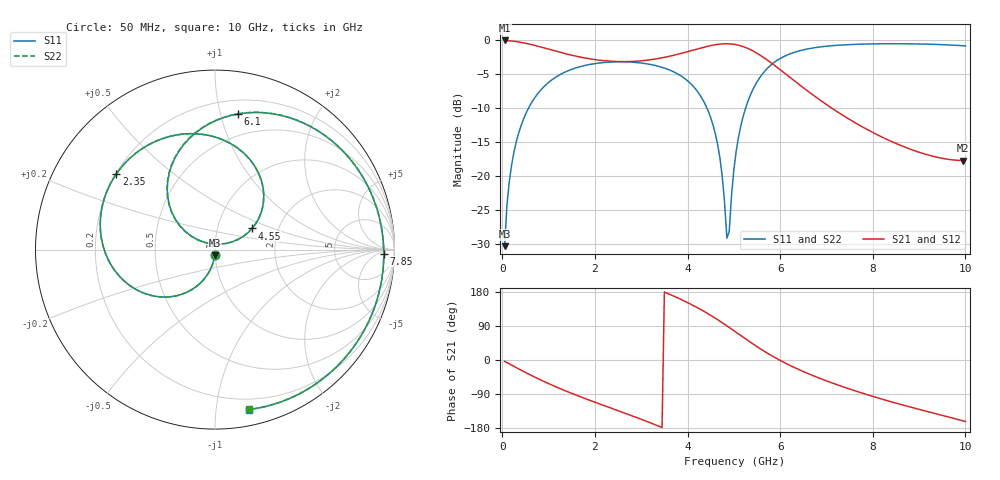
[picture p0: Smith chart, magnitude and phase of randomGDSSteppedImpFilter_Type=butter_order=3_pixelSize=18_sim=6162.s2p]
! freq	dB(S11)	phase(S11)	dB(S12)	phase(S12)
!  dB(S21)	phase(S21)	dB(S22)	phase(S22)
!S-par simulation data
#  GHz  S  DB  R 50
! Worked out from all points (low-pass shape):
!   200 points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, 50 MHz to 10 GHz, reference 50 ohm
!   highest |S21| = -0.01 dB at 50 MHz (marker M1); lowest = -17.7 dB at 9.95 GHz (marker M2)
!   |S21| within 3 dB of the highest: start of sweep to 2.227 GHz; 2.998 GHz to 5.746 GHz (2.749 GHz wide, 62.9 % of centre)
!   lowest |S11| = -30.3 dB at 50 MHz (marker M3), VSWR 1.06, Z = 49.7 - j3.03 ohm
!   |S11| at or under -10 dB: start of sweep to 565.2 MHz; 4.421 GHz to 5.252 GHz (831.7 MHz wide, 17.2 % of centre)
!   |S22| runs from -30.3 to -0.5 dB; largest |S21 - S12| = 0
!   S11 on the Smith chart (normalised r, x): 50 MHz: 0.99, -0.06; 2.35 GHz: 0.20, +0.33; 4.55 GHz: 1.47, +0.37; 6.1 GHz: 0.31, +1.14; 7.85 GHz: 28, -11; 10 GHz: 0.12, -1.22
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0.05  -30.31 -93.5  -0.01 -3.4  -0.01 -3.4  -30.31 -93.4
0.1  -24.31 -97.0  -0.03 -6.8  -0.03 -6.8  -24.31 -97.0
0.2  -18.39 -103.9  -0.09 -13.4  -0.09 -13.4  -18.38 -103.9
0.5  -10.92 -123.4  -0.42 -32.8  -0.42 -32.8  -10.92 -123.4
1.05  -5.91 -155.6  -1.38 -65.0  -1.38 -65.0  -5.91 -155.5
1.75  -3.75 169.5  -2.55 -100.0  -2.55 -100.0  -3.74 169.5
2.35  -3.19 142.4  -3.07 -127.1  -3.07 -127.1  -3.19 142.5
3.4  -3.86 94.4  -2.63 -175.6  -2.63 -175.6  -3.86 94.6
4.05  -6.25 59.7  -1.56 148.5  -1.56 148.5  -6.25 59.9
4.55  -12.45 29.6  -0.69 114.2  -0.69 114.2  -12.45 29.8
4.75  -20.05 24.6  -0.51 98.4  -0.51 98.4  -20.05 24.7
4.85  -29.14 61.3  -0.49 90.1  -0.49 90.1  -29.18 61.4
4.9  -28.14 122.6  -0.50 85.9  -0.50 85.9  -28.18 123.1
5.05  -16.35 150.4  -0.63 73.1  -0.63 73.1  -16.35 150.7
5.25  -10.05 139.4  -1.03 56.0  -1.03 56.0  -10.05 139.7
5.55  -5.57 117.4  -2.10 31.3  -2.10 31.3  -5.57 117.7
6.1  -2.31 80.3  -4.85 -7.4  -4.85 -7.4  -2.31 80.6
6.7  -1.12 47.7  -7.99 -40.8  -7.99 -40.8  -1.12 48.0
7.85  -0.53 -1.4  -13.01 -90.3  -13.01 -90.3  -0.53 -1.1
8.35  -0.49 -19.8  -14.72 -108.5  -14.72 -108.5  -0.49 -19.5
9.95  -0.79 -76.2  -17.69 -160.6  -17.69 -160.6  -0.79 -76.0
10  -0.81 -78.2  -17.69 -162.2  -17.69 -162.2  -0.81 -77.9
